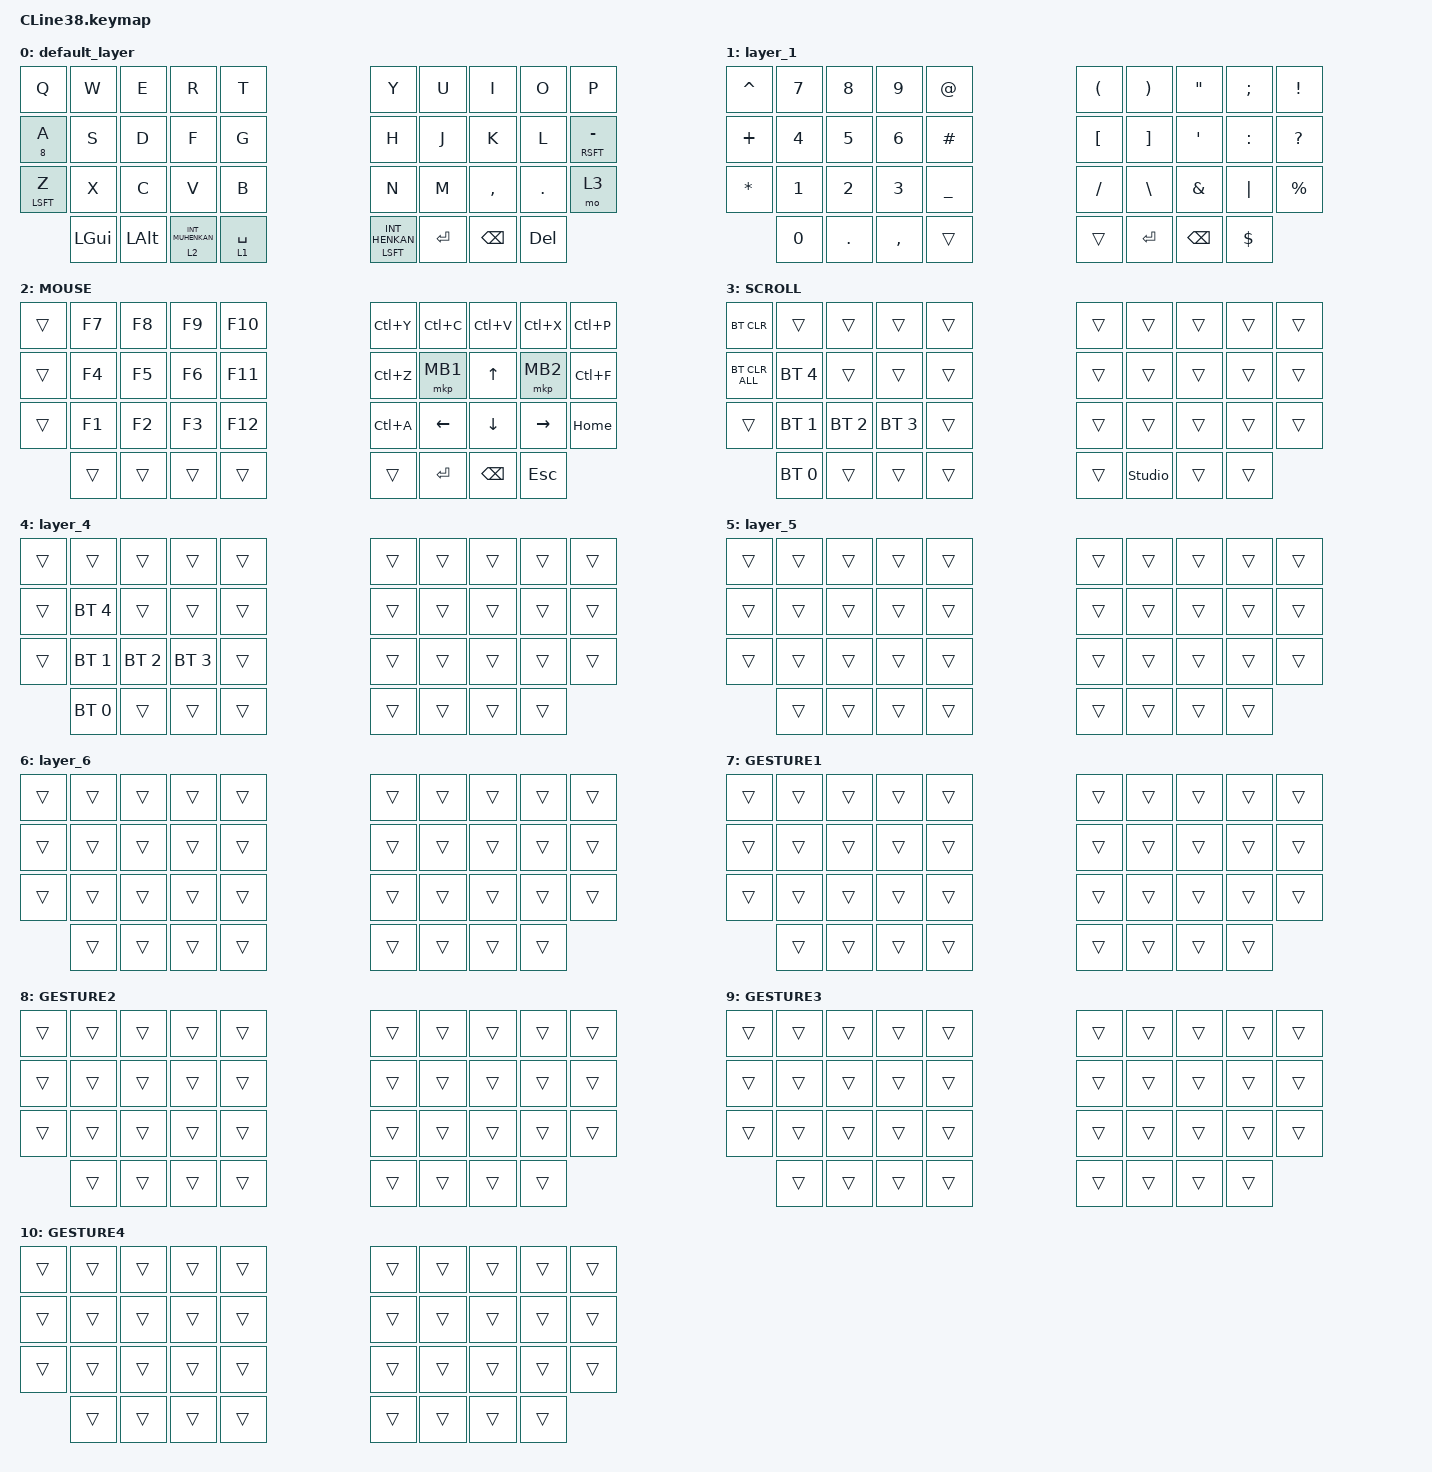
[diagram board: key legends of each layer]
#include <input/processors.dtsi>
#include <dt-bindings/zmk/input_transform.h>
#include <zephyr/dt-bindings/input/input-event-codes.h>
#include <behaviors.dtsi>
#include <behaviors/runtime_macro.dtsi>
#include <dt-bindings/zmk/bt.h>
#include <dt-bindings/zmk/keys.h>
#include <dt-bindings/zmk/pointing.h>

&mt {
    flavor = "hold-preferred";
    quick-tap-ms = <0>;
    retro-tap;
};

&lt {
    flavor = "hold-preferred";
    quick-tap-ms = <0>;
    retro-tap;
};

/ {
    combos {
        compatible = "zmk,combos";

        tab {
            bindings = <&kp TAB>;
            key-positions = <12 13>;
        };

        shift_tab {
            bindings = <&kp LS(TAB)>;
            key-positions = <11 12>;
        };
    };

    macros {
        to_layer_0: to_layer_0 {
            compatible = "zmk,behavior-macro-one-param";
            #binding-cells = <1>;
            bindings = <&to 0 &macro_param_1to1 &kp MACRO_PLACEHOLDER>;
            label = "TO_LAYER_0";
        };
    };

    behaviors {
        ctrl8_hold: ctrl_layer8_hold {
            compatible = "cline38,behavior-ctrl-layer8";
            #binding-cells = <1>;
            display-name = "Ctrl + Layer 8 Hold";
        };

        ctrl8: ctrl_layer8_tap {
            compatible = "zmk,behavior-hold-tap";
            #binding-cells = <2>;
            display-name = "Ctrl + Layer 8 (No Retro)";
            flavor = "hold-preferred";
            tapping-term-ms = <200>;
            quick-tap-ms = <0>;
            bindings = <&ctrl8_hold>, <&kp>;
        };

        // レイヤー1用。通常の&ltと&mtのRetro Tap設定には影響しない。
        lt1: layer_tap_1_no_retro {
            compatible = "zmk,behavior-hold-tap";
            #binding-cells = <2>;
            display-name = "Layer-Tap 1 (No Retro)";
            flavor = "hold-preferred";
            tapping-term-ms = <200>;
            quick-tap-ms = <0>;
            bindings = <&mo>, <&kp>;
            // retro-tapを付けない: 時間経過だけでホールドを有効にする。
        };

        lt_to_layer_0: lt_to_layer_0 {
            compatible = "zmk,behavior-hold-tap";
            label = "LAYER_TAP_TO_0";
            bindings = <&mo>, <&to_layer_0>;

            #binding-cells = <2>;
            tapping-term-ms = <200>;
        };
    };

    keymap {
        compatible = "zmk,keymap";

        default_layer {
            bindings = <
&kp Q           &kp W     &kp E     &kp R                &kp T                                             &kp Y      &kp U         &kp I       &kp O          &kp P    
&ctrl8 8 A      &kp S     &kp D     &kp F                &kp G                                             &kp H      &kp J         &kp K       &kp L          &mt RSFT MINUS
&mt LSFT Z      &kp X     &kp C     &kp V                &kp B                                             &kp N      &kp M         &kp COMMA   &kp DOT        &mo 3
                &kp LGUI  &kp LALT  &lt 2 INT_MUHENKAN   &lt1 1 SPACE   &mt LSFT INT_HENKAN        &kp RET  &kp BSPC                             &kp DEL
            >;
        };

        
        layer_1 {
            bindings = <
&kp CARET      &kp NUMBER_7   &kp NUMBER_8   &kp NUMBER_9   &kp AT_SIGN                              &kp LEFT_PARENTHESIS    &kp RIGHT_PARENTHESIS  &kp DOUBLE_QUOTES      &kp SEMI    &kp EXCLAMATION
&kp PLUS       &kp NUMBER_4   &kp NUMBER_5   &kp NUMBER_6   &kp HASH                                 &kp LEFT_BRACKET        &kp RIGHT_BRACKET      &kp SINGLE_QUOTE       &kp COLON   &kp QMARK
&kp ASTERISK   &kp NUMBER_1   &kp NUMBER_2   &kp NUMBER_3   &kp UNDERSCORE                           &kp SLASH               &kp BACKSLASH          &kp AMPERSAND          &kp PIPE    &kp PERCENT
               &kp NUMBER_0   &kp DOT        &kp COMMA      &trans          &trans          &kp RET  &kp BSPC                                                              &kp DOLLAR
            >;
        };


        MOUSE {
            bindings = <
&trans   &kp F7   &kp F8   &kp F9   &kp F10                         &kp LC(Y)   &kp LC(C)        &kp LC(V)        &kp LC(X)         &kp LC(P)
&trans   &kp F4   &kp F5   &kp F6   &kp F11                         &kp LC(Z)   &mkp MB1         &kp UP_ARROW     &mkp MB2          &kp LC(F)
&trans   &kp F1   &kp F2   &kp F3   &kp F12                         &kp LC(A)   &kp LEFT_ARROW   &kp DOWN_ARROW   &kp RIGHT_ARROW   &kp HOME
         &trans   &trans   &trans   &trans    &trans      &kp RET   &kp BSPC                                      &kp ESC
            >;
        };


        SCROLL {
            bindings = <
&bt BT_CLR       &trans         &trans         &trans         &trans                                &trans   &trans   &trans   &trans   &trans
&bt BT_CLR_ALL   &bt BT_SEL 4   &trans         &trans         &trans                                &trans   &trans   &trans   &trans   &trans
&trans           &bt BT_SEL 1   &bt BT_SEL 2   &bt BT_SEL 3   &trans                                &trans   &trans   &trans   &trans   &trans
                 &bt BT_SEL 0   &trans         &trans         &trans   &trans      &studio_unlock   &trans                     &trans 
            >;
        };


        layer_4 {
            bindings = <
&trans   &trans         &trans         &trans         &trans                        &trans   &trans   &trans   &trans   &trans
&trans   &bt BT_SEL 4   &trans         &trans         &trans                        &trans   &trans   &trans   &trans   &trans
&trans   &bt BT_SEL 1   &bt BT_SEL 2   &bt BT_SEL 3   &trans                        &trans   &trans   &trans   &trans   &trans
         &bt BT_SEL 0   &trans         &trans         &trans   &trans      &trans   &trans                     &trans
            >;
        };


        layer_5 {
            bindings = <
&trans   &trans   &trans   &trans   &trans                        &trans   &trans   &trans   &trans   &trans
&trans   &trans   &trans   &trans   &trans                        &trans   &trans   &trans   &trans   &trans
&trans   &trans   &trans   &trans   &trans                        &trans   &trans   &trans   &trans   &trans
         &trans   &trans   &trans   &trans   &trans      &trans   &trans                     &trans      
            >;
        };


        layer_6 {
            bindings = <
&trans   &trans   &trans   &trans   &trans                        &trans   &trans   &trans   &trans   &trans
&trans   &trans   &trans   &trans   &trans                        &trans   &trans   &trans   &trans   &trans
&trans   &trans   &trans   &trans   &trans                        &trans   &trans   &trans   &trans   &trans
         &trans   &trans   &trans   &trans   &trans      &trans   &trans                     &trans
            >;
        };

        // ころころKit: DYA Studioで任意のキーに MO 7〜10 を割り当てる。
        gesture_1 {
            display-name = "GESTURE1";
            bindings = <
&trans &trans &trans &trans &trans &trans &trans &trans &trans &trans
&trans &trans &trans &trans &trans &trans &trans &trans &trans &trans
&trans &trans &trans &trans &trans &trans &trans &trans &trans &trans
&trans &trans &trans &trans &trans &trans &trans &trans
            >;
        };

        gesture_2 {
            display-name = "GESTURE2";
            bindings = <
&trans &trans &trans &trans &trans &trans &trans &trans &trans &trans
&trans &trans &trans &trans &trans &trans &trans &trans &trans &trans
&trans &trans &trans &trans &trans &trans &trans &trans &trans &trans
&trans &trans &trans &trans &trans &trans &trans &trans
            >;
        };

        gesture_3 {
            display-name = "GESTURE3";
            bindings = <
&trans &trans &trans &trans &trans &trans &trans &trans &trans &trans
&trans &trans &trans &trans &trans &trans &trans &trans &trans &trans
&trans &trans &trans &trans &trans &trans &trans &trans &trans &trans
&trans &trans &trans &trans &trans &trans &trans &trans
            >;
        };

        gesture_4 {
            display-name = "GESTURE4";
            bindings = <
&trans &trans &trans &trans &trans &trans &trans &trans &trans &trans
&trans &trans &trans &trans &trans &trans &trans &trans &trans &trans
&trans &trans &trans &trans &trans &trans &trans &trans &trans &trans
&trans &trans &trans &trans &trans &trans &trans &trans
            >;
        };

    };
};
